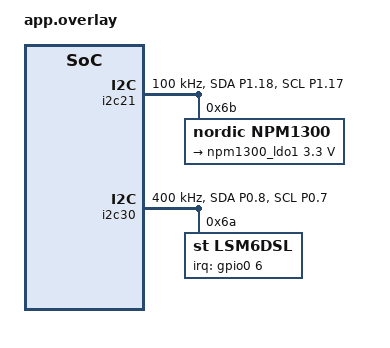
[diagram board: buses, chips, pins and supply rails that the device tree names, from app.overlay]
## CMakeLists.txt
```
cmake_minimum_required(VERSION 3.20.0)

# M3a bring-up app: nPM1300 LDO + LSM6DS3TR-C IMU (power + gravity).

find_package(Zephyr REQUIRED HINTS $ENV{ZEPHYR_BASE})
project(nrf54_imu)

target_sources(app PRIVATE src/main.cpp)
```

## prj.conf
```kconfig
# M3a: console + nPM1300 regulator + LSM6DS3TR-C IMU (serial-only bring-up).
CONFIG_CPP=y
CONFIG_STD_CPP17=y
CONFIG_NEWLIB_LIBC=y
CONFIG_NEWLIB_LIBC_FLOAT_PRINTF=y
CONFIG_FPU=y

CONFIG_LOG=y
CONFIG_LOG_MODE_IMMEDIATE=y

# Serial console + r/b/g commands
CONFIG_SERIAL=y
CONFIG_CONSOLE=y
CONFIG_UART_CONSOLE=y
CONFIG_UART_INTERRUPT_DRIVEN=y
CONFIG_REBOOT=y

CONFIG_GPIO=y
CONFIG_I2C=y

# nPM1300 PMIC regulator (powers the IMU/mic rail via LDO1)
CONFIG_REGULATOR=y
CONFIG_REGULATOR_NPM13XX=y
CONFIG_MFD=y

# IMU. ODR is an INDEX (0=power-down, 1=12.5Hz, 2=26, 3=52, 4=104Hz, ...).
# 0 (default) leaves the sensor powered down -> stale/frozen data. Index 4 =
# 104 Hz continuous (~ the 100 Hz the nRF52840 acq path uses).
CONFIG_SENSOR=y
CONFIG_LSM6DSL=y
CONFIG_LSM6DSL_ACCEL_ODR=4
CONFIG_LSM6DSL_GYRO_ODR=4
```

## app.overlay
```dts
/*
 * M3a bring-up: nPM1300 LDO1 (IMU&MIC_3V3 rail) + LSM6DS3TR-C IMU.
 *
 * IMU on IIC0 (i2c30): SCL P0.07 / SDA P0.08, INT1 P0.06. LSM6DS3TR-C is
 * register-compatible with the LSM6DSL (WHO_AM_I 0x6A) -> use st,lsm6dsl.
 * PMIC on IIC1 (i2c21): SCL P1.17 / SDA P1.18; LDO1 powers the IMU/mic rail.
 * See docs/nrf54lm20a-board.md.
 */
#include <dt-bindings/regulator/npm13xx.h>

&pinctrl {
	/* PMIC bus (IIC1). */
	i2c21_default: i2c21_default {
		group1 {
			psels = <NRF_PSEL(TWIM_SDA, 1, 18)>,
				<NRF_PSEL(TWIM_SCL, 1, 17)>;
		};
	};
	i2c21_sleep: i2c21_sleep {
		group1 {
			psels = <NRF_PSEL(TWIM_SDA, 1, 18)>,
				<NRF_PSEL(TWIM_SCL, 1, 17)>;
			low-power-enable;
		};
	};

	/* IMU bus (IIC0). */
	i2c30_default: i2c30_default {
		group1 {
			psels = <NRF_PSEL(TWIM_SDA, 0, 8)>,
				<NRF_PSEL(TWIM_SCL, 0, 7)>;
		};
	};
	i2c30_sleep: i2c30_sleep {
		group1 {
			psels = <NRF_PSEL(TWIM_SDA, 0, 8)>,
				<NRF_PSEL(TWIM_SCL, 0, 7)>;
			low-power-enable;
		};
	};
};

&i2c21 {
	status = "okay";
	pinctrl-0 = <&i2c21_default>;
	pinctrl-1 = <&i2c21_sleep>;
	pinctrl-names = "default", "sleep";
	clock-frequency = <100000>;

	npm1300: pmic@6b {
		compatible = "nordic,npm1300";
		reg = <0x6b>;

		npm1300_regulators: regulators {
			compatible = "nordic,npm1300-regulator";

			/* LDO1 -> IMU&MIC_3V3. Boot-on + always-on so the rail is up
			 * before the IMU driver probes. */
			npm1300_ldo1: LDO1 {
				regulator-min-microvolt = <3300000>;
				regulator-max-microvolt = <3300000>;
				regulator-initial-mode = <NPM13XX_LDSW_MODE_LDO>;
				regulator-boot-on;
				regulator-always-on;
			};
		};
	};
};

&i2c30 {
	status = "okay";
	pinctrl-0 = <&i2c30_default>;
	pinctrl-1 = <&i2c30_sleep>;
	pinctrl-names = "default", "sleep";
	clock-frequency = <400000>;

	lsm6dsl: lsm6dsl@6a {
		compatible = "st,lsm6dsl";
		reg = <0x6a>;
		irq-gpios = <&gpio0 6 GPIO_ACTIVE_HIGH>;
	};
};

/ {
	aliases {
		imu0 = &lsm6dsl;
	};
};
```

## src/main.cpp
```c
/*
 * nRF54LM20A OLED variant -- M3a: power + IMU bring-up.
 *
 * The nPM1300 LDO1 (regulator-boot-on in the overlay) powers the IMU/mic rail;
 * the LSM6DS3TR-C is probed via the Zephyr sensor API (device_is_ready() == the
 * WHO_AM_I check passed). Prints the gravity vector so tilt is visible.
 *
 * Serial console: r reboot, b bootloader-info, g one-shot gravity read.
 */
#include <zephyr/kernel.h>
#include <zephyr/device.h>
#include <zephyr/drivers/sensor.h>
#include <zephyr/drivers/uart.h>
#include <zephyr/sys/reboot.h>
#include <zephyr/logging/log.h>
#include <math.h>

LOG_MODULE_REGISTER(main, LOG_LEVEL_INF);

static const struct device *const imu = DEVICE_DT_GET(DT_ALIAS(imu0));
static const struct device *const console_dev =
	DEVICE_DT_GET(DT_CHOSEN(zephyr_console));

static void read_gravity(void)
{
	if (!device_is_ready(imu)) {
		LOG_ERR("IMU not ready (rail off? wrong addr? WHO_AM_I mismatch?)");
		return;
	}

	struct sensor_value acc[3];
	int rc = sensor_sample_fetch(imu);
	if (rc != 0) {
		LOG_ERR("sensor_sample_fetch failed: %d", rc);
		return;
	}
	sensor_channel_get(imu, SENSOR_CHAN_ACCEL_XYZ, acc);

	double x = sensor_value_to_double(&acc[0]);
	double y = sensor_value_to_double(&acc[1]);
	double z = sensor_value_to_double(&acc[2]);
	LOG_INF("gravity: x=%6.2f y=%6.2f z=%6.2f  |a|=%5.2f m/s^2",
		x, y, z, sqrt(x * x + y * y + z * z));
}

/* 'g' deferred to a thread: I2C can't run in the UART ISR callback. */
static void grav_work_handler(struct k_work *w)
{
	ARG_UNUSED(w);
	read_gravity();
}
static K_WORK_DEFINE(grav_work, grav_work_handler);

static void uart_rx_cb(const struct device *dev, void *user_data)
{
	ARG_UNUSED(user_data);
	uint8_t c;

	if (!uart_irq_update(dev) || !uart_irq_rx_ready(dev)) {
		return;
	}
	while (uart_fifo_read(dev, &c, 1) == 1) {
		switch (c) {
		case 'r':
			LOG_INF("reboot (cold)");
			sys_reboot(SYS_REBOOT_COLD);
			break;
		case 'b':
			LOG_INF("no UF2 bootloader on nRF54L -- flash via "
				"./flash_nrf54.sh; rebooting cold");
			sys_reboot(SYS_REBOOT_COLD);
			break;
		case 'g':
			k_work_submit(&grav_work);
			break;
		default:
			break;
		}
	}
}

int main(void)
{
	LOG_INF("=== gestureband nRF54LM20A OLED variant -- M3a IMU bring-up ===");

	if (device_is_ready(console_dev)) {
		uart_irq_callback_user_data_set(console_dev, uart_rx_cb, NULL);
		uart_irq_rx_enable(console_dev);
		LOG_INF("console ready: r reboot, b boot-info, g gravity");
	}

	/* device_is_ready(imu) is true only if the lsm6dsl driver probed the chip
	 * successfully -- i.e. the rail is powered and WHO_AM_I matched. */
	if (device_is_ready(imu)) {
		LOG_INF(">>> IMU ALIVE: LSM6DS3TR-C probed OK (WHO_AM_I matched) <<<");
	} else {
		LOG_ERR(">>> IMU NOT READY -- check LDO1 rail / I2C addr / INT pin <<<");
	}

	/* Print gravity every 2 s so tilting the board is visible. */
	while (1) {
		read_gravity();
		k_sleep(K_SECONDS(2));
	}
	return 0;
}
```
